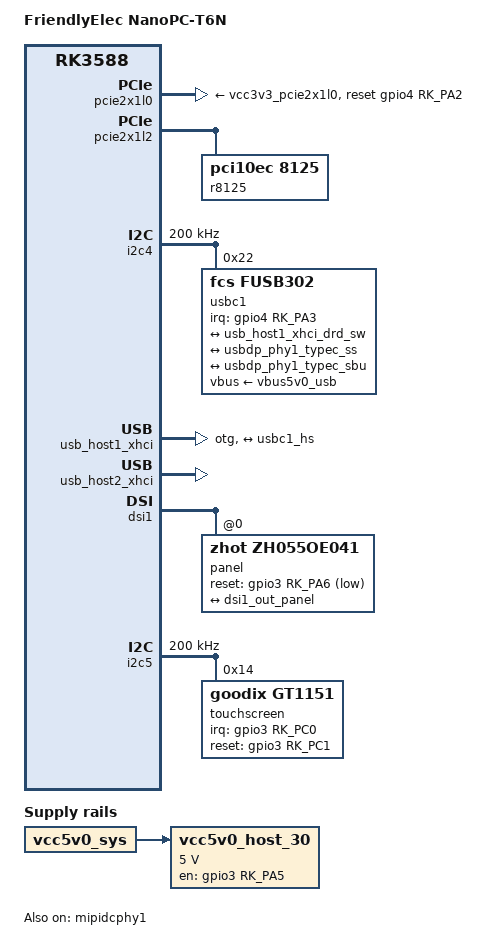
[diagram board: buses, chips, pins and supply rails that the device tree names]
// SPDX-License-Identifier: (GPL-2.0+ OR MIT)
/*
 * FriendlyElec NanoPC-T6N, for monokulo-nodo.
 *
 * Mainline Linux has no device tree for the T6N. The board is a NanoPC-T6 variant, so this
 * starts from mainline's rk3588-nanopc-t6.dtsi and applies the differences found in
 * FriendlyElec's own T6N device tree, rk3588-nanopi6-rev08.dts in kernel-rockchip
 * nanopi6-v6.1.y at commit 30d3e1c2470a7282f37b96fdd4354314dda69aa3. docs/MAINLINE_KERNEL.md
 * lists each difference and which ones are unverified on hardware.
 *
 * Build with dtc -@ so FriendlyElec's dtbo partition, which targets the "chosen" label, can
 * still be applied by their bootloader.
 */

/dts-v1/;

#include "rk3588-nanopc-t6.dtsi"

/ {
	model = "FriendlyElec NanoPC-T6N";
	compatible = "friendlyelec,nanopc-t6n", "friendlyarm,nanopc-t6", "rockchip,rk3588";

	aliases {
		/*
		 * The same numbering as FriendlyElec's kernel, so the microSD card is mmcblk0 and
		 * root=/dev/mmcblk0p8 means the card on both images. Mainline's T6 numbering would
		 * make mmcblk0 the eMMC, which holds the original Nodo system.
		 */
		/delete-property/ mmc1;
		mmc0 = &sdmmc;
		mmc2 = &sdhci;
		/* FriendlyElec's bootloader writes the board's MAC address into this node. */
		ethernet0 = &r8125;
	};

	/*
	 * FriendlyElec's bootloader joins bootargs and bootargs_ext. Their dtbo partition then
	 * replaces bootargs_ext with the same root, so this copy only matters if it cannot.
	 */
	chosen: chosen {
		/*
		 * Kernel messages go to the HDMI text console too. The last console= stays the
		 * serial port, so /dev/console is still ttyS2.
		 */
		bootargs = "earlycon=uart8250,mmio32,0xfeb50000 console=tty0 console=ttyS2,1500000n8 coherent_pool=1m";
		bootargs_ext = "root=/dev/mmcblk0p8 rw rootfstype=ext4 rootwait";
	};

	/* The T6N's USB 3.0 Type-A port. */
	vcc5v0_host_30: regulator-vcc5v0-host-30 {
		compatible = "regulator-fixed";
		enable-active-high;
		gpio = <&gpio3 RK_PA5 GPIO_ACTIVE_HIGH>;
		pinctrl-names = "default";
		pinctrl-0 = <&vcc5v0_host30_en>;
		regulator-name = "vcc5v0_host_30";
		regulator-min-microvolt = <5000000>;
		regulator-max-microvolt = <5000000>;
		vin-supply = <&vcc5v0_sys>;
	};
};

/*
 * Display, GPU and audio. The T6 dtsi already enables the GPU, VOP2, both HDMI outputs with
 * their HDPTX PHYs and I2S audio, the RT5616 headphone codec on i2s0 and the HDMI receiver.
 * FriendlyElec's T6N tree has one HDMI output (hdmi0 on VOP2 port 0) and no HDMI input, so
 * the second output, its audio and the receiver, with its 160 MiB CMA reservation, are off.
 */
&gpu {
	/* FriendlyElec's mem-supply. On this board it is the same RK806 rail as mali-supply. */
	sram-supply = <&vdd_gpu_mem_s0>;
};

/*
 * GPIO4_B1 is the HDMI 2.1 FRL/TMDS level shifter switch in FriendlyElec's T6N tree (the T6
 * uses another pin). Mainline's dw-hdmi-qp driver drives "enable" high for TMDS.
 */
&hdmi0 {
	enable-gpios = <&gpio4 RK_PB1 GPIO_ACTIVE_HIGH>;
};

&hdmi1 {
	status = "disabled";
};

&hdmi1_sound {
	status = "disabled";
};

&hdptxphy1 {
	status = "disabled";
};

&i2s6_8ch {
	status = "disabled";
};

&hdmi_receiver {
	status = "disabled";
};

&hdmi_receiver_cma {
	status = "disabled";
};

/* Only the system LED exists on the T6N. */
/delete-node/ &usr_led;

/*
 * The M.2 E-key slot (the Wi-Fi card) uses this controller, with the reset and power pins the
 * T6 uses for its second Ethernet controller. The T6N has no second Ethernet port.
 */
&pcie2x1l0 {
	reset-gpios = <&gpio4 RK_PA2 GPIO_ACTIVE_HIGH>;
	vpcie3v3-supply = <&vcc3v3_pcie2x1l0>;
	pinctrl-0 = <&pcie2_1_rst>;
};

&pcie2x1l1 {
	status = "disabled";
};

/* The 2.5GbE port, an RTL8125 on PCIe. The bootloader fills in local-mac-address. */
&pcie2x1l2 {
	pcie@0,0 {
		reg = <0x400000 0 0 0 0>;
		#address-cells = <3>;
		#size-cells = <2>;
		ranges;
		device_type = "pci";
		bus-range = <0x40 0x4f>;

		r8125: ethernet@0,0 {
			compatible = "pci10ec,8125";
			reg = <0x410000 0 0 0 0>;
			local-mac-address = [ 00 00 00 00 00 00 ];
		};
	};
};

/* FriendlyElec's T6N tree defines no fan, and leaves this PWM off. */
&pwm1 {
	status = "disabled";
};

/* The T6N tree has no SPI flash. */
&sfc {
	status = "disabled";
};

/*
 * USB. The second Type-C port has its own FUSB302 controller on i2c4 and takes the power
 * switch that drives the T6's USB-A port, so that switch only turns on when the port
 * negotiates the source role. The Type-A port is USB 3.0 on the third controller.
 */
&vbus5v0_usb {
	regulator-name = "vbus5v1_typec";
};

&i2c4 {
	clock-frequency = <200000>;
	pinctrl-names = "default";
	pinctrl-0 = <&i2c4m3_xfer>;
	status = "okay";

	usbc1: usb-typec@22 {
		compatible = "fcs,fusb302";
		reg = <0x22>;
		interrupt-parent = <&gpio4>;
		interrupts = <RK_PA3 IRQ_TYPE_LEVEL_LOW>;
		pinctrl-names = "default";
		pinctrl-0 = <&usbc1_int>;
		vbus-supply = <&vbus5v0_usb>;
		status = "okay";

		connector {
			compatible = "usb-c-connector";
			data-role = "dual";
			label = "USB-C";
			op-sink-microwatt = <1000000>;
			pd-revision = /bits/ 8 <0x2 0x0 0x1 0x2>;
			power-role = "dual";
			sink-pdos = <PDO_FIXED(5000, 3000, PDO_FIXED_USB_COMM)>;
			source-pdos = <PDO_FIXED(5000, 2000, PDO_FIXED_USB_COMM)>;
			try-power-role = "sink";
			typec-power-opmode = "1.5A";

			ports {
				#address-cells = <1>;
				#size-cells = <0>;

				port@0 {
					reg = <0>;
					usbc1_hs: endpoint {
						remote-endpoint = <&usb_host1_xhci_drd_sw>;
					};
				};

				port@1 {
					reg = <1>;
					usbc1_ss: endpoint {
						remote-endpoint = <&usbdp_phy1_typec_ss>;
					};
				};

				port@2 {
					reg = <2>;
					usbc1_sbu: endpoint {
						remote-endpoint = <&usbdp_phy1_typec_sbu>;
					};
				};
			};
		};
	};
};

&usbdp_phy1 {
	/delete-property/ phy-supply;
	mode-switch;
	orientation-switch;
	sbu1-dc-gpios = <&gpio4 RK_PA0 GPIO_ACTIVE_HIGH>;
	sbu2-dc-gpios = <&gpio4 RK_PA1 GPIO_ACTIVE_HIGH>;

	port {
		#address-cells = <1>;
		#size-cells = <0>;

		usbdp_phy1_typec_ss: endpoint@0 {
			reg = <0>;
			remote-endpoint = <&usbc1_ss>;
		};

		usbdp_phy1_typec_sbu: endpoint@1 {
			reg = <1>;
			remote-endpoint = <&usbc1_sbu>;
		};
	};
};

&usb_host1_xhci {
	dr_mode = "otg";
	usb-role-switch;

	port {
		usb_host1_xhci_drd_sw: endpoint {
			remote-endpoint = <&usbc1_hs>;
		};
	};
};

&u2phy3_host {
	phy-supply = <&vcc5v0_host_30>;
};

&usb_host2_xhci {
	status = "okay";
};

/*
 * The Nodo's built-in screen: a ZHOT ZH055OE041 5.5" 1080x1920 AMOLED panel on the second
 * MIPI-DSI controller, fed by VOP2 video port 3, with a Goodix GT1x touch controller on i2c5.
 * Taken from the device tree the original Nodo system boots (FriendlyElec's
 * rk3588-nanopi6-rev08.dtb with rk3588-nanopi6-mipi-55amoled.dtsi): dsi1 on vp3, four lanes,
 * burst video mode, panel reset on GPIO3_A6 (active low), touch interrupt on GPIO3_C0 and touch
 * reset on GPIO3_C1, i2c5 on its m0 pins at 200 kHz. The panel is an AMOLED, so it has no
 * backlight; the panel driver offers its DCS brightness as one.
 */
&dsi1 {
	#address-cells = <1>;
	#size-cells = <0>;
	status = "okay";

	panel@0 {
		compatible = "zhot,zh055oe041";
		reg = <0>;
		dsi-lanes = <4>;
		pinctrl-names = "default";
		pinctrl-0 = <&lcd_rst0_gpio>;
		reset-gpios = <&gpio3 RK_PA6 GPIO_ACTIVE_LOW>;

		port {
			panel_in_dsi1: endpoint {
				remote-endpoint = <&dsi1_out_panel>;
			};
		};
	};
};

&dsi1_in {
	dsi1_in_vp3: endpoint {
		remote-endpoint = <&vp3_out_dsi1>;
	};
};

&dsi1_out {
	dsi1_out_panel: endpoint {
		remote-endpoint = <&panel_in_dsi1>;
	};
};

&mipidcphy1 {
	status = "okay";
};

&vp3 {
	#address-cells = <1>;
	#size-cells = <0>;

	vp3_out_dsi1: endpoint@ROCKCHIP_VOP2_EP_MIPI1 {
		reg = <ROCKCHIP_VOP2_EP_MIPI1>;
		remote-endpoint = <&dsi1_in_vp3>;
	};
};

&i2c5 {
	clock-frequency = <200000>;
	pinctrl-names = "default";
	pinctrl-0 = <&i2c5m0_xfer>;
	status = "okay";

	touchscreen@14 {
		compatible = "goodix,gt1151";
		reg = <0x14>;
		interrupt-parent = <&gpio3>;
		interrupts = <RK_PC0 IRQ_TYPE_EDGE_FALLING>;
		irq-gpios = <&gpio3 RK_PC0 GPIO_ACTIVE_HIGH>;
		reset-gpios = <&gpio3 RK_PC1 GPIO_ACTIVE_HIGH>;
		pinctrl-names = "default";
		pinctrl-0 = <&touch_dsi1_gpio>;
	};
};

&pinctrl {
	display {
		lcd_rst0_gpio: lcd-rst0-gpio {
			rockchip,pins = <3 RK_PA6 RK_FUNC_GPIO &pcfg_pull_none>;
		};

		touch_dsi1_gpio: touch-dsi1-gpio {
			rockchip,pins = <3 RK_PC0 RK_FUNC_GPIO &pcfg_pull_up>,
					<3 RK_PC1 RK_FUNC_GPIO &pcfg_pull_none>;
		};
	};

	usb {
		usbc1_int: usbc1-int {
			rockchip,pins = <4 RK_PA3 RK_FUNC_GPIO &pcfg_pull_up>;
		};

		vcc5v0_host30_en: vcc5v0-host30-en {
			rockchip,pins = <3 RK_PA5 RK_FUNC_GPIO &pcfg_pull_none>;
		};
	};
};
